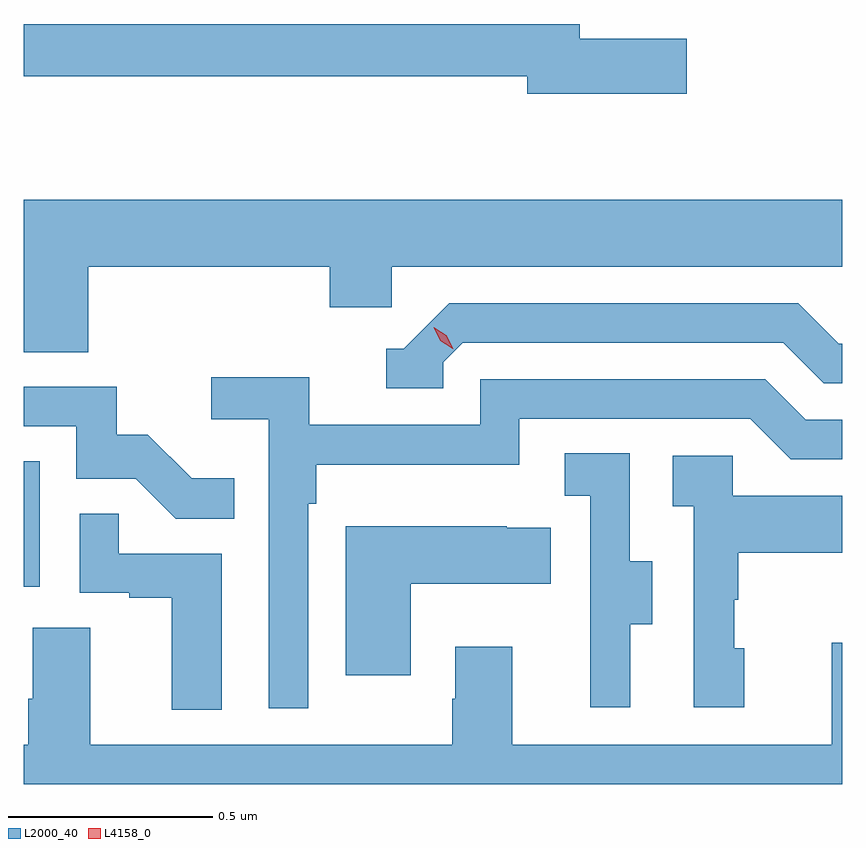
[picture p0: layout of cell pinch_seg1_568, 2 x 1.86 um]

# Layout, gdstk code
import gdstk
lib = gdstk.Library(unit=1e-6, precision=1e-09)
def R(c, l, rs):  # rectangles x0, y0, x1, y1
    for r in rs: c.add(gdstk.rectangle(r[:2], r[2:], *l))
def P(c, l, *ps):  # polygons
    for p in ps: c.add(gdstk.Polygon(p, *l))
L2000_40 = (2000, 40)
L4158_0 = (4158, 0)

pinch_seg1_568 = lib.new_cell('pinch_seg1_568')
R(pinch_seg1_568, L2000_40, [(1045.453,540.294,1045.492,540.601)])
P(pinch_seg1_568, L2000_40, [(1047.073,541.634),(1046.812,541.634),(1046.812,541.67),(1045.453,541.67),(1045.453,541.542),(1046.684,541.542),(1046.684,541.499),(1047.073,541.499)],
  [(1045.61,541.076),(1046.201,541.076),(1046.201,540.978),(1046.352,540.978),(1046.352,541.076),(1047.453,541.076),(1047.453,541.24),(1045.453,541.24),(1045.453,540.868),(1045.61,540.868)],
  [(1046.478,540.843),(1046.526,540.891),(1047.309,540.891),(1047.408,540.792),(1047.453,540.792),(1047.453,540.888),(1047.445,540.888),(1047.346,540.987),(1046.493,540.987),(1046.382,540.876),(1046.339,540.876),(1046.339,540.78),(1046.478,540.78)],
  [(1046.148,540.497),(1046.168,540.497),(1046.168,540.593),(1046.664,540.593),(1046.664,540.705),(1047.228,540.705),(1047.327,540.606),(1047.453,540.606),(1047.453,540.702),(1047.364,540.702),(1047.265,540.801),(1046.568,540.801),(1046.568,540.69),(1046.15,540.69),(1046.15,540.806),(1045.911,540.806),(1045.911,540.704),(1046.052,540.704),(1046.052,539.997),(1046.148,539.997)],
  [(1045.967,540.559),(1045.863,540.559),(1045.756,540.666),(1045.68,540.666),(1045.68,540.783),(1045.453,540.783),(1045.453,540.687),(1045.581,540.687),(1045.581,540.558),(1045.726,540.558),(1045.824,540.46),(1045.967,540.46)],
  [(1046.935,540.202),(1046.989,540.202),(1046.989,540.357),(1046.934,540.357),(1046.934,540.62),(1046.775,540.62),(1046.775,540.517),(1046.838,540.517),(1046.838,540.213),(1046.837,540.213),(1046.837,540),(1046.935,540)],
  [(1047.214,540.144),(1047.189,540.144),(1047.189,540.263),(1047.199,540.263),(1047.199,540.377),(1047.453,540.377),(1047.453,540.517),(1047.186,540.517),(1047.186,540.615),(1047.039,540.615),(1047.039,540.491),(1047.09,540.491),(1047.09,540),(1047.214,540)],
  [(1045.936,540.375),(1045.685,540.375),(1045.685,540.473),(1045.59,540.473),(1045.59,540.279),(1045.711,540.279),(1045.711,540.267),(1045.814,540.267),(1045.814,539.993),(1045.936,539.993)],
  [(1046.398,540.302),(1046.741,540.302),(1046.741,540.439),(1046.633,540.439),(1046.633,540.442),(1046.24,540.442),(1046.24,540.078),(1046.398,540.078)],
  [(1046.507,540.148),(1046.507,540.02),(1046.5,540.02),(1046.5,539.908),(1045.615,539.908),(1045.615,540.194),(1045.475,540.194),(1045.475,540.02),(1045.463,540.02),(1045.463,539.908),(1045.453,539.908),(1045.453,539.812),(1047.453,539.812),(1047.453,540.157),(1047.428,540.157),(1047.428,539.908),(1046.647,539.908),(1046.647,540.148)])
P(pinch_seg1_568, L4158_0, [(1046.501,540.876),(1046.471,540.896),(1046.455,540.929),(1046.455,540.929),(1046.455,540.929),(1046.486,540.909),(1046.502,540.876),(1046.502,540.876)])

lib.write_gds('pinch_seg1_568.gds')
